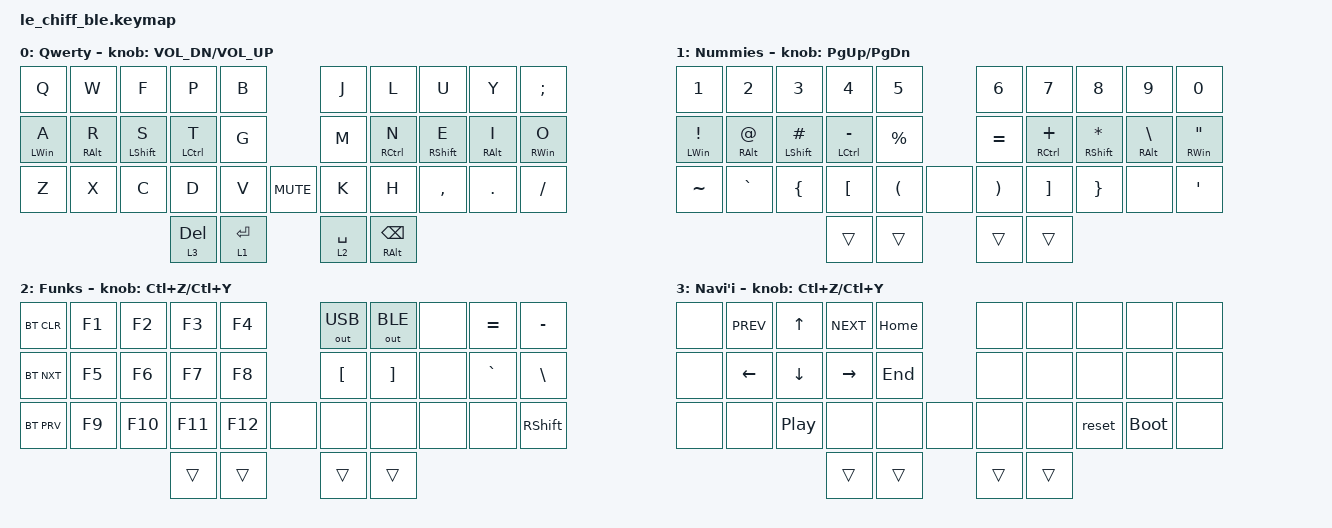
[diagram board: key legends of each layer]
/*
 * Copyright (c) 2021 @MangoIV
 *
 * SPDX-License-Identifier: MIT
 */

#include <behaviors.dtsi>
#include <dt-bindings/zmk/keys.h>
#include <dt-bindings/zmk/bt.h>
#include <dt-bindings/zmk/outputs.h>

// makes it possible to hold backspace
&mt {
    quick_tap_ms = <350>;
};

&lt {
    quick_tap_ms = <200>;
};

/ {
	keymap {
		compatible = "zmk,keymap";
		
		default {
            label = "Qwerty";
//  _____________________________       _____________________________
// /  Q  |  W  |  F  |  P  |  B  \     /  Y  |  U  |  I  |  O  |  P  \
// |  A  |  S  |  D  |  F  |  G  | ___ |  H  |  J  |  K  |  L  |  ;  |
// |Sft/Z|  X  |  C  |  V  |  B  ||MUT||  N  |  M  |  ,  |  .  |Sft//|
//         \LAlt/Bspc|  Ctl/SPC  /     \  Num/Del  | Sym/Ent /
//          ---------------------       --------------------
			bindings = <
            &kp Q       &kp W   	 &kp F   		&kp P   	  &kp B                       &kp J   	  &kp L   		&kp U       &kp Y   	&kp SEMI
            &mt LWIN A  &mt RALT R   &mt LSHFT S   	&mt LCTRL T   &kp G                   	  &kp M   	  &mt RCTRL N   &mt RSHFT E &mt RALT I  &mt RWIN O
            &kp Z       &kp X   	 &kp C   		&kp D   	  &kp V     &kp C_MUTE        &kp K   	  &kp H   		&kp COMMA   &kp DOT 	&kp FSLH
                        							&lt 3 DEL    &lt 1 RET                   &lt 2 SPACE &mt RALT BSPC
			>;
			sensor-bindings = <&inc_dec_kp C_VOL_DN C_VOL_UP>;
		};
		numbers {
            label = "Nummies";
//  _____________________________       _____________________________
// /  1  |  2  |  3  |  4  |  5  \     /  6  |  7  |  8  |  9  |  0  \
// | TAB |BTPRV|BTNXT| VOL-| VOL+| ___ |  <  |  v  |  ^  |  >  |  '  |
// | Sft |BTSL0|BTCLR| MUT |     ||CPS|| HOME| END | PGUP| PGDN| Sft |
//         \  LAlt   |    Ctl    /     \   Trns    |         /
//          ---------------------       --------------------
			bindings = <
            &kp N1      	&kp N2 			&kp N3 			&kp N4 			&kp N5 					&kp N6 		&kp N7 			&kp N8 			&kp N9 			&kp N0
            &mt LWIN EXCL   &mt RALT AT		&mt LSHFT HASH 	&mt LCTRL MINUS	&kp PERCENT 			&kp EQUAL 	&mt RCTRL PLUS 	&mt RSHFT STAR	&mt RALT BSLH 	&mt RWIN DQT
            &kp TILDE 		&kp GRAVE 		&kp LBRC 		&kp LBKT 		&kp LPAR 		&none 	&kp RPAR 	&kp RBKT 		&kp RBRC 		&none	 		&kp APOS
            												&trans 			&trans 					&trans 		&trans
			>;
			sensor-bindings = <&inc_dec_kp PG_UP PG_DN>;
		};
		symbols {
            label = "Funks";
//  _____________________________       _____________________________
// / ESC | F1  | F2  | F3  | F4  \     / USB | BLE |     |  =  |  -  \
// |     | F5  | F6  | F7  | F8  | ___ |  [  |  ]  |     |  `  |  \  |
// | Sft | F9  | F10 | F11 | F12 ||   ||     |     |     |     | Sft |
//         \  LAlt   |    Ctl    /     \         | Trns    /
//          ---------------------       --------------------
			bindings = <
            &bt BT_CLR 	&kp F1 		&kp F2  	&kp F3 		&kp F4 				&out OUT_USB 	&out OUT_BLE 	&none  		&kp EQUAL 		&kp MINUS
            &bt BT_NXT 	&kp F5 		&kp F6  	&kp F7 		&kp F8 				&kp LBKT 		&kp RBKT 		&none 		&kp GRAVE 		&kp BSLH
            &bt BT_PRV 	&kp F9 		&kp F10 	&kp F11 	&kp F12 	&none 	&none 			&none 			&none 		&none		 	&kp RSHFT
            									&trans	 	&trans	 			&trans 			&trans
			>;
			sensor-bindings = <&inc_dec_kp LC(Z) LC(Y)>;
		};
		nav {
            label = "Navi'i";
//  _____________________________       _____________________________
// / 0   |  1  |  2  |  3  | 4   \     /  5  | 6   |  7  |  8  |  9  \
// |  10 | 11  | 12  | 13  | 14  |  _ |  15  | 16  |  17 | 18  | 19  |
// | 20  | 21  | 22  | 23  | 24  ||   ||  25 |  26 |  27 |  28 | 29  |
//          \   30   |    31     /     \     32      | 33    /
//          ---------------------       --------------------
			bindings = <
            &none 	&kp C_PREV 	&kp UP  	&kp C_NEXT 		&kp HOME			&none 			&none		 	&none  		&none 		&none
            &none 	&kp LEFT 	&kp DOWN  	&kp RIGHT 		&kp END				&none 			&none	 		&none 		&none 		&none
            &none 	&none 		&kp C_PP 	&none	 		&none	 	&none 	&none 			&none 			&reset 		&bootloader &none
            								&trans 			&trans 				&trans 			&trans
			>;
			sensor-bindings = <&inc_dec_kp LC(Z) LC(Y)>;
		};
	};
};

/ {    
	combos {
	    compatible = "zmk,combos";        
		combo_esc {            
			timeout-ms = <50>;            
			key-positions = <0 1>;            
			bindings = <&kp ESC>;        
		};
		combo_tab {
			timeout-ms = <50>;            
			key-positions = <0 10>;            
			bindings = <&kp TAB>; 
		};
		combo_alt-tab {
			timeout-ms = <50>;            
			key-positions = <12 13>;            
			bindings = <&kp LA(TAB)>; 
		};
		combo_exclamation {
			timeout-ms = <50>;            
			key-positions = <2 3>;            
			bindings = <&kp EXCLAMATION>; 
		};
		combo_quotes {
			timeout-ms = <50>;            
			key-positions = <16 17>;            
			bindings = <&kp DOUBLE_QUOTES>; 
		};  
		combo_apostrophe {
			timeout-ms = <50>;            
			key-positions = <17 18>;            
			bindings = <&kp APOSTROPHE>; 
		}; 
		combo_pause {
			timeout-ms = <50>;            
			key-positions = <22 23>;            
			bindings = <&kp C_PP>; 
		};           
	};
};
